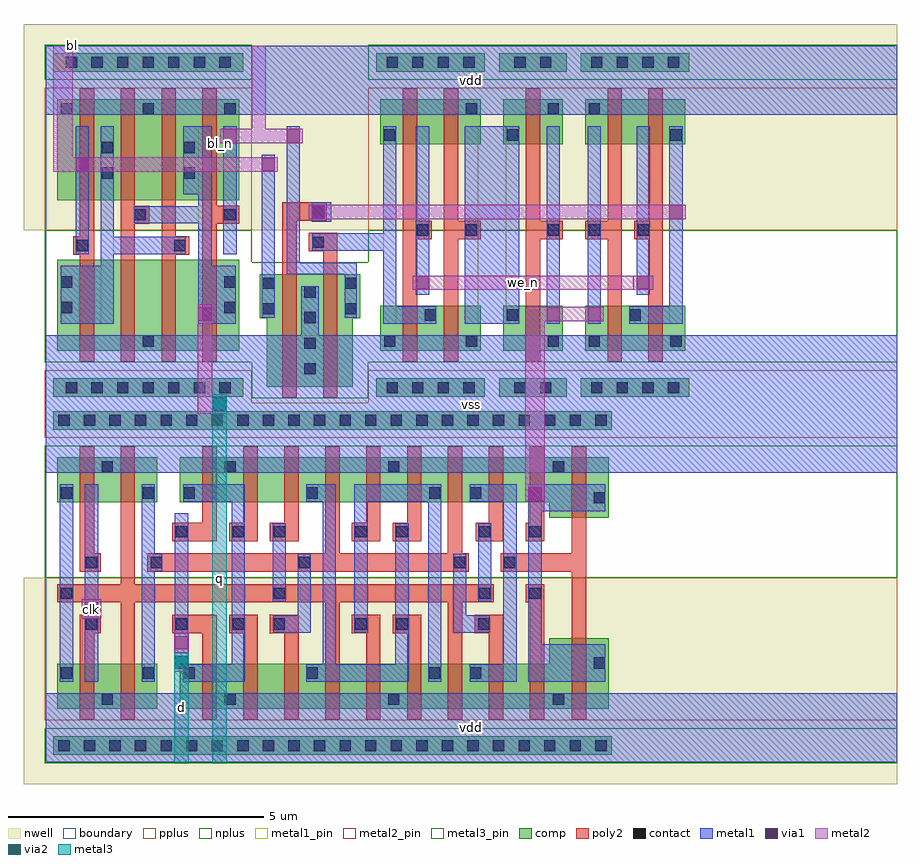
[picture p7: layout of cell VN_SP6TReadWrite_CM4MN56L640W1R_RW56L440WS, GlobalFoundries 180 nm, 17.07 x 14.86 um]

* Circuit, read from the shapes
.subckt VN_SP6TReadWrite_CM4MN56L640W1R_RW56L440WS bl bl_n clk d q vdd vss we_n
XM1 vss clk n1 vss nfet_03v3 w=0.88u l=0.28u
XM2 n2 bl VN_nsnrlatch_x1_4/nq vss nfet_03v3 w=1.775u l=0.28u
XM3 n3 n1 vss vss nfet_03v3 w=0.88u l=0.28u
XM4 vss q n2 vss nfet_03v3 w=1.775u l=0.28u
XM5 n4 VN_nsnrlatch_x1_4/nq vss vss nfet_03v3 w=1.775u l=0.28u
XM6 vss d n5 vss nfet_03v3 w=0.88u l=0.28u
XM7 q bl_n n4 vss nfet_03v3 w=1.775u l=0.28u
XM8 n6 n5 vss vss nfet_03v3 w=0.88u l=0.28u
XM9 vss VN_nor2_x0_0/nq bl vss nfet_03v3 w=2.2u l=0.28u
XM10 n7 n1 n6 vss nfet_03v3 w=0.88u l=0.28u
XM11 bl_n VN_nor2_x0_3/nq vss vss nfet_03v3 w=2.2u l=0.28u
XM12 n8 n3 n7 vss nfet_03v3 w=0.88u l=0.28u
XM13 vss n9 n8 vss nfet_03v3 w=0.88u l=0.28u
XM14 VN_nor2_x0_3/nq we_n vss vss nfet_03v3 w=0.88u l=0.28u
XM15 n9 n7 vss vss nfet_03v3 w=0.88u l=0.28u
XM16 vss VN_nor2_x0_3/i0 VN_nor2_x0_3/nq vss nfet_03v3 w=0.88u l=0.28u
XM17 n10 n3 n9 vss nfet_03v3 w=0.88u l=0.28u
XM18 n11 n1 n10 vss nfet_03v3 w=0.88u l=0.28u
XM19 vss VN_inv_x0_1/i VN_nor2_x0_3/i0 vss nfet_03v3 w=0.88u l=0.28u
XM20 vss VN_inv_x0_1/i n11 vss nfet_03v3 w=0.88u l=0.28u
XM21 VN_inv_x0_1/i n10 vss vss nfet_03v3 w=1.175u l=0.28u
XM22 VN_nor2_x0_0/nq VN_inv_x0_1/i vss vss nfet_03v3 w=0.88u l=0.28u
XM23 vss we_n VN_nor2_x0_0/nq vss nfet_03v3 w=0.88u l=0.28u
XM24 vdd clk n1 vdd pfet_03v3 w=0.88u l=0.28u
XM25 VN_nsnrlatch_x1_4/nq bl vdd vdd pfet_03v3 w=1.975u l=0.28u
XM26 n3 n1 vdd vdd pfet_03v3 w=0.88u l=0.28u
XM27 vdd q VN_nsnrlatch_x1_4/nq vdd pfet_03v3 w=1.975u l=0.28u
XM28 q VN_nsnrlatch_x1_4/nq vdd vdd pfet_03v3 w=1.975u l=0.28u
XM29 vdd d n5 vdd pfet_03v3 w=0.88u l=0.28u
XM30 vdd bl_n q vdd pfet_03v3 w=1.975u l=0.28u
XM31 n12 n5 vdd vdd pfet_03v3 w=0.88u l=0.28u
XM32 n7 n3 n12 vdd pfet_03v3 w=0.88u l=0.28u
XM33 n13 n1 n7 vdd pfet_03v3 w=0.88u l=0.28u
XM34 vdd n9 n13 vdd pfet_03v3 w=0.88u l=0.28u
XM35 n14 we_n VN_nor2_x0_3/nq vdd pfet_03v3 w=0.88u l=0.28u
XM36 n9 n7 vdd vdd pfet_03v3 w=0.88u l=0.28u
XM37 vdd VN_nor2_x0_3/i0 n14 vdd pfet_03v3 w=0.88u l=0.28u
XM38 n10 n1 n9 vdd pfet_03v3 w=0.88u l=0.28u
XM39 n15 n3 n10 vdd pfet_03v3 w=0.88u l=0.28u
XM40 vdd VN_inv_x0_1/i VN_nor2_x0_3/i0 vdd pfet_03v3 w=0.88u l=0.28u
XM41 vdd VN_inv_x0_1/i n15 vdd pfet_03v3 w=0.88u l=0.28u
XM42 VN_inv_x0_1/i n10 vdd vdd pfet_03v3 w=1.375u l=0.28u
XM43 n16 VN_inv_x0_1/i vdd vdd pfet_03v3 w=0.88u l=0.28u
XM44 VN_nor2_x0_0/nq we_n n16 vdd pfet_03v3 w=0.88u l=0.28u
.ends

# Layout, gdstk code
from math import pi, radians
import gdstk
lib = gdstk.Library(unit=1e-6, precision=1e-09)
def R(c, l, rs):  # rectangles x0, y0, x1, y1
    for r in rs: c.add(gdstk.rectangle(r[:2], r[2:], *l))
def A(c, l, x, y, w, h, nx, ny, dx, dy):  # array of equal rectangles
    R(c, l, [(x+i*dx, y+j*dy, x+i*dx+w, y+j*dy+h) for i in range(nx) for j in range(ny)])
def P(c, l, *ps):  # polygons
    for p in ps: c.add(gdstk.Polygon(p, *l))
boundary = (0, 0)
nwell = (21, 0)
comp = (22, 0)
poly2 = (30, 0)
pplus = (31, 0)
nplus = (32, 0)
contact = (33, 0)
metal1 = (34, 0)
metal1_pin = (34, 10)
via1 = (35, 0)
metal2 = (36, 0)
metal2_pin = (36, 10)
via2 = (38, 0)
metal3 = (42, 0)
metal3_pin = (42, 10)

vn_nor2_x0 = lib.new_cell('VN_nor2_x0')
R(vn_nor2_x0, nwell, [(-0.43,3.4,2.83,7.43)])
R(vn_nor2_x0, comp, [(0.14,0.14,2.26,0.5), (0.22,1.045,2.18,1.925), (0.22,5.075,2.18,5.955), (0.14,6.5,2.26,6.86)])
P(vn_nor2_x0, poly2, [(1.46,0.825),(1.46,3.22),(1.18,3.22),(1.18,3.58),(1.46,3.58),(1.46,6.175),(1.74,6.175),(1.74,0.825)],
  [(0.66,0.825),(0.66,3.22),(0.22,3.22),(0.22,3.58),(0.66,3.58),(0.66,6.175),(0.94,6.175),(0.94,0.825)])
R(vn_nor2_x0, pplus, [(-0.02,-0.02,2.42,0.66), (-0.02,3.4,2.42,6.185)])
R(vn_nor2_x0, nplus, [(-0.02,0.815,2.42,3.4), (-0.02,6.34,2.42,7.02)])
A(vn_nor2_x0, contact, 0.34, 0.21, 0.22, 0.22, 4, 2, 0.5, 6.36)
R(vn_nor2_x0, contact, [(0.29,1.115,0.51,1.335), (1.89,1.115,2.11,1.335), (1.09,1.63,1.31,1.85), (0.29,3.29,0.51,3.51), (1.25,3.29,1.47,3.51), (1.89,5.15,2.11,5.37), (0.29,5.665,0.51,5.885)])
R(vn_nor2_x0, metal1, [(0,0,2.4,1.34), (0.27,1.57,0.53,5.43), (1.23,2.14,1.49,5.43), (0,5.66,2.4,7)])
P(vn_nor2_x0, metal1, [(1.085,1.57),(1.085,1.91),(1.87,1.91),(1.87,5.43),(2.13,5.43),(2.13,1.57)])
R(vn_nor2_x0, metal1_pin, [(0,0,2.4,1.34), (0.27,1.57,0.53,5.43), (1.87,1.57,2.13,5.43), (1.23,2.14,1.49,5.43), (0,5.66,2.4,7)])
vn_nor2_x0.add(gdstk.Label('i1', (1.36,3.785), layer=34, texttype=10))
vn_nor2_x0.add(gdstk.Label('i0', (0.4,3.5), layer=34, texttype=10))
vn_nor2_x0.add(gdstk.Label('nq', (2,3.5), layer=34, texttype=10))
vn_nor2_x0.add(gdstk.Label('vdd', (1.2,6.33), layer=34, texttype=10))
vn_nor2_x0.add(gdstk.Label('vss', (1.2,0.67), layer=34, texttype=10))

vn_inv_x0 = lib.new_cell('VN_inv_x0')
R(vn_inv_x0, nwell, [(-0.43,3.4,2.03,7.43)])
R(vn_inv_x0, comp, [(0.14,0.14,1.46,0.5), (0.22,1.045,1.38,1.925), (0.22,5.075,1.38,5.955), (0.14,6.5,1.46,6.86)])
P(vn_inv_x0, poly2, [(0.66,0.825),(0.66,3.22),(0.22,3.22),(0.22,3.58),(0.66,3.58),(0.66,6.175),(0.94,6.175),(0.94,0.825)])
R(vn_inv_x0, pplus, [(-0.02,-0.02,1.62,0.66), (-0.02,3.4,1.62,6.185)])
R(vn_inv_x0, nplus, [(-0.02,0.815,1.62,3.4), (-0.02,6.34,1.62,7.02)])
R(vn_inv_x0, contact, [(0.44,0.21,0.66,0.43), (0.94,0.21,1.16,0.43), (0.29,1.115,0.51,1.335), (1.09,1.63,1.31,1.85), (0.29,3.29,0.51,3.51), (1.09,5.15,1.31,5.37), (0.29,5.665,0.51,5.885), (0.44,6.57,0.66,6.79), (0.94,6.57,1.16,6.79)])
R(vn_inv_x0, metal1, [(0,0,1.6,1.34), (0.27,1.57,0.53,5.43), (1.07,1.57,1.33,5.43), (0,5.66,1.6,7)])
R(vn_inv_x0, metal1_pin, [(0,0,1.6,1.34), (0.27,1.57,0.53,5.43), (1.07,1.57,1.33,5.43), (0,5.66,1.6,7)])
vn_inv_x0.add(gdstk.Label('i', (0.4,3.5), layer=34, texttype=10))
vn_inv_x0.add(gdstk.Label('nq', (1.2,3.5), layer=34, texttype=10))
vn_inv_x0.add(gdstk.Label('vdd', (0.8,6.33), layer=34, texttype=10))
vn_inv_x0.add(gdstk.Label('vss', (0.8,0.67), layer=34, texttype=10))

vn_dff_x1 = lib.new_cell('VN_dff_x1')
R(vn_dff_x1, nwell, [(-0.43,3.4,11.63,7.43)])
R(vn_dff_x1, comp, [(0.14,0.14,11.06,0.5), (0.22,1.045,2.18,1.925), (0.22,5.075,2.18,5.955), (0.14,6.5,11.06,6.86)])
P(vn_dff_x1, comp, [(2.62,1.045),(2.62,1.925),(9.84,1.925),(9.84,2.22),(11,2.22),(11,1.045)],
  [(9.84,4.58),(9.84,5.075),(2.62,5.075),(2.62,5.955),(11,5.955),(11,4.58)])
P(vn_dff_x1, poly2, [(9.46,0.825),(9.46,2.32),(9.38,2.32),(9.38,2.68),(9.74,2.68),(9.74,0.825)],
  [(10.28,0.825),(10.28,2.92),(8.89,2.92),(8.89,3.28),(10.28,3.28),(10.28,6.175),(10.56,6.175),(10.56,0.825)],
  [(2.47,4.12),(2.47,4.48),(3.06,4.48),(3.06,6.175),(3.34,6.175),(3.34,4.12)],
  [(3.06,0.825),(3.06,2.32),(2.47,2.32),(2.47,2.68),(3.34,2.68),(3.34,0.825)],
  [(9.38,3.52),(9.38,3.88),(9.46,3.88),(9.46,6.175),(9.74,6.175),(9.74,3.52)],
  [(3.58,4.12),(3.58,4.48),(3.86,4.48),(3.86,6.175),(4.14,6.175),(4.14,4.12)],
  [(4.38,4.12),(4.38,4.48),(4.66,4.48),(4.66,6.175),(4.94,6.175),(4.94,4.12)],
  [(5.98,4.12),(5.98,4.48),(6.26,4.48),(6.26,6.175),(6.54,6.175),(6.54,4.12)],
  [(6.78,4.12),(6.78,4.48),(7.06,4.48),(7.06,6.175),(7.34,6.175),(7.34,4.12)],
  [(8.38,4.12),(8.38,4.48),(8.66,4.48),(8.66,6.175),(8.94,6.175),(8.94,4.12)],
  [(5.46,0.825),(5.46,2.92),(1.98,2.92),(1.98,3.28),(8.27,3.28),(8.27,2.92),(8.14,2.92),(8.14,0.825),(7.86,0.825),(7.86,2.92),(5.74,2.92),(5.74,0.825)],
  [(0.66,0.825),(0.66,3.28),(1.07,3.28),(1.07,2.92),(0.94,2.92),(0.94,0.825)],
  [(0.66,4.12),(0.66,6.175),(0.94,6.175),(0.94,4.48),(1.07,4.48),(1.07,4.12)],
  [(3.86,0.825),(3.86,2.32),(3.58,2.32),(3.58,2.68),(4.14,2.68),(4.14,0.825)],
  [(4.66,0.825),(4.66,2.32),(4.38,2.32),(4.38,2.68),(4.94,2.68),(4.94,0.825)],
  [(6.26,0.825),(6.26,2.32),(5.98,2.32),(5.98,2.68),(6.54,2.68),(6.54,0.825)],
  [(7.06,0.825),(7.06,2.32),(6.78,2.32),(6.78,2.68),(7.34,2.68),(7.34,0.825)],
  [(8.66,0.825),(8.66,2.32),(8.4,2.32),(8.4,2.68),(8.94,2.68),(8.94,0.825)],
  [(1.46,0.825),(1.46,3.52),(0.22,3.52),(0.22,3.88),(1.46,3.88),(1.46,6.175),(1.74,6.175),(1.74,3.88),(5.46,3.88),(5.46,6.175),(5.74,6.175),(5.74,3.88),(7.86,3.88),(7.86,6.175),(8.14,6.175),(8.14,3.88),(8.76,3.88),(8.76,3.52),(1.74,3.52),(1.74,0.825)])
R(vn_dff_x1, pplus, [(-0.02,-0.02,11.22,0.66), (-0.02,3.4,11.22,6.185)])
R(vn_dff_x1, nplus, [(-0.02,0.815,11.22,3.4), (-0.02,6.34,11.22,7.02)])
A(vn_dff_x1, contact, 0.24, 0.21, 0.22, 0.22, 22, 2, 0.5, 6.36)
A(vn_dff_x1, contact, 2.69, 1.63, 0.22, 0.22, 3, 2, 2.4, 3.52)
R(vn_dff_x1, contact, [(1.09,1.115,1.31,1.335), (3.49,1.115,3.71,1.335), (6.69,1.115,6.91,1.335), (9.91,1.115,10.13,1.335), (0.29,1.63,0.51,1.85), (1.89,1.63,2.11,1.85), (8.29,1.63,8.51,1.85), (10.71,1.725,10.93,1.945), (2.54,2.39,2.76,2.61), (3.65,2.39,3.87,2.61), (4.45,2.39,4.67,2.61), (6.05,2.39,6.27,2.61), (6.85,2.39,7.07,2.61), (8.47,2.39,8.69,2.61), (9.45,2.39,9.67,2.61), (0.78,2.99,1,3.21), (2.05,2.99,2.27,3.21), (4.94,2.99,5.16,3.21), (7.98,2.99,8.2,3.21), (8.96,2.99,9.18,3.21), (0.29,3.59,0.51,3.81), (4.45,3.59,4.67,3.81), (8.47,3.59,8.69,3.81), (9.45,3.59,9.67,3.81), (0.78,4.19,1,4.41), (2.54,4.19,2.76,4.41), (3.65,4.19,3.87,4.41), (4.45,4.19,4.67,4.41), (6.05,4.19,6.27,4.41), (6.85,4.19,7.07,4.41), (8.45,4.19,8.67,4.41), (10.71,4.955,10.93,5.175), (0.29,5.15,0.51,5.37), (1.89,5.15,2.11,5.37), (8.29,5.15,8.51,5.37), (1.09,5.665,1.31,5.885), (3.49,5.665,3.71,5.885), (6.69,5.665,6.91,5.885), (9.91,5.665,10.13,5.885)])
R(vn_dff_x1, metal1, [(0,0,11.2,1.34), (0.27,1.57,0.53,5.43), (0.76,1.57,1.02,5.43), (2.52,2.14,2.78,4.86), (4.43,2.33,4.69,3.87), (8.45,2.33,8.71,3.87), (0,5.66,11.2,7)])
P(vn_dff_x1, metal1, [(9.43,1.57),(9.43,5.43),(10.935,5.43),(10.935,4.7),(9.69,4.7),(9.69,2.1),(10.935,2.1),(10.935,1.57)],
  [(8.285,1.57),(8.285,1.91),(8.94,1.91),(8.94,5.09),(8.285,5.09),(8.285,5.43),(9.2,5.43),(9.2,1.57)],
  [(6.03,1.57),(6.03,4.47),(6.29,4.47),(6.29,1.91),(7.47,1.91),(7.47,5.43),(7.73,5.43),(7.73,1.57)],
  [(5.085,1.57),(5.085,1.91),(5.41,1.91),(5.41,5.09),(5.085,5.09),(5.085,5.43),(7.09,5.43),(7.09,2.33),(6.83,2.33),(6.83,5.09),(5.67,5.09),(5.67,1.57)],
  [(2.685,1.57),(2.685,1.91),(3.63,1.91),(3.63,5.09),(2.685,5.09),(2.685,5.43),(3.89,5.43),(3.89,1.57)],
  [(7.96,2.93),(7.96,4.47),(8.675,4.47),(8.675,4.13),(8.22,4.13),(8.22,2.93)],
  [(4.92,2.93),(4.92,4.13),(4.445,4.13),(4.445,4.47),(5.18,4.47),(5.18,2.93)],
  [(1.87,1.57),(1.87,5.43),(2.13,5.43),(2.13,3.27),(2.275,3.27),(2.275,2.93),(2.13,2.93),(2.13,1.57)])
R(vn_dff_x1, metal1_pin, [(0,0,11.2,1.34), (0.76,1.57,1.02,5.43), (9.43,1.57,9.69,5.43), (2.52,2.14,2.78,4.86), (0,5.66,11.2,7)])
vn_dff_x1.add(gdstk.Label('q', (9.56,3.5), layer=34, texttype=10))
vn_dff_x1.add(gdstk.Label('i', (2.65,3.5), layer=34, texttype=10))
vn_dff_x1.add(gdstk.Label('clk', (0.89,3.5), layer=34, texttype=10))
vn_dff_x1.add(gdstk.Label('vss', (5.6,0.67), layer=34, texttype=10))
vn_dff_x1.add(gdstk.Label('vdd', (5.6,6.33), layer=34, texttype=10))

vn_nsnrlatch_x1 = lib.new_cell('VN_nsnrlatch_x1')
R(vn_nsnrlatch_x1, nwell, [(-0.43,3.4,4.43,7.43)])
R(vn_nsnrlatch_x1, comp, [(0.14,0.14,3.86,0.5), (0.22,1.045,3.78,2.82), (0.22,3.98,3.78,5.955), (0.14,6.5,3.86,6.86)])
R(vn_nsnrlatch_x1, poly2, [(1.38,2.92,1.6,3.28), (3.2,2.92,3.29,3.28)])
P(vn_nsnrlatch_x1, poly2, [(3.06,0.825),(3.06,6.175),(3.34,6.175),(3.34,3.28),(3.47,3.28),(3.47,2.92),(3.34,2.92),(3.34,0.825)],
  [(1.46,0.825),(1.46,2.92),(1.2,2.92),(1.2,3.28),(1.46,3.28),(1.46,6.175),(1.74,6.175),(1.74,0.825)],
  [(0.66,0.825),(0.66,3.52),(0.22,3.52),(0.22,3.88),(0.66,3.88),(0.66,6.175),(0.94,6.175),(0.94,0.825)],
  [(2.26,0.825),(2.26,3.52),(1.98,3.52),(1.98,3.88),(2.26,3.88),(2.26,6.175),(2.54,6.175),(2.54,0.825)])
R(vn_nsnrlatch_x1, pplus, [(-0.02,-0.02,4.02,0.66), (-0.02,3.4,4.02,6.185)])
R(vn_nsnrlatch_x1, nplus, [(-0.02,0.815,4.02,3.4), (-0.02,6.34,4.02,7.02)])
A(vn_nsnrlatch_x1, contact, 0.39, 0.21, 0.22, 0.22, 7, 2, 0.5, 6.36)
A(vn_nsnrlatch_x1, contact, 0.29, 5.665, 0.22, 0.22, 3, 1, 1.6, 0)
R(vn_nsnrlatch_x1, contact, [(1.89,1.115,2.11,1.335), (0.29,1.775,0.51,1.995), (3.49,1.775,3.71,1.995), (0.29,2.275,0.51,2.495), (3.49,2.275,3.71,2.495), (1.27,2.99,1.49,3.21), (3.18,2.99,3.4,3.21), (0.29,3.59,0.51,3.81), (2.05,3.59,2.27,3.81), (1.09,4.405,1.31,4.625), (2.69,4.405,2.91,4.625), (1.09,4.905,1.31,5.125), (2.69,4.905,2.91,5.125)])
R(vn_nsnrlatch_x1, metal1, [(0,0,4,1.34), (0.27,2.93,0.53,5.43), (3.16,2.93,3.42,5.43), (0,5.66,4,7)])
P(vn_nsnrlatch_x1, metal1, [(2.67,1.57),(2.67,2.93),(1.265,2.93),(1.265,3.27),(2.67,3.27),(2.67,5.43),(2.93,5.43),(2.93,2.7),(3.715,2.7),(3.715,1.57)],
  [(0.285,1.57),(0.285,2.7),(0.76,2.7),(0.76,5.43),(1.315,5.43),(1.315,4.1),(1.02,4.1),(1.02,3.87),(2.275,3.87),(2.275,3.53),(1.02,3.53),(1.02,1.57)])
R(vn_nsnrlatch_x1, metal1_pin, [(0,0,4,1.34), (0.76,1.57,1.02,5.43), (2.67,1.57,2.93,5.43), (0.27,2.93,0.53,5.43), (3.16,2.93,3.42,5.43), (0,5.66,4,7)])
vn_nsnrlatch_x1.add(gdstk.Label('nrst', (3.29,4.18), layer=34, texttype=10))
vn_nsnrlatch_x1.add(gdstk.Label('nq', (2.8,3.5), layer=34, texttype=10))
vn_nsnrlatch_x1.add(gdstk.Label('nset', (0.4,4.18), layer=34, texttype=10))
vn_nsnrlatch_x1.add(gdstk.Label('vss', (2,0.67), layer=34, texttype=10))
vn_nsnrlatch_x1.add(gdstk.Label('vdd', (2,6.33), layer=34, texttype=10))
vn_nsnrlatch_x1.add(gdstk.Label('q', (0.89,3.5), layer=34, texttype=10))

vn_sp6treadwrite_cm4mn56 = lib.new_cell('VN_SP6TReadWrite_CM4MN56L640W1R_RW56L440WS')
R(vn_sp6treadwrite_cm4mn56, boundary, [(0,0,16.64,14)])
R(vn_sp6treadwrite_cm4mn56, nwell, [(-0.43,-0.43,16.64,3.6), (-0.43,10.4,16.64,14.43)])
P(vn_sp6treadwrite_cm4mn56, comp, [(4.32,7.34),(4.32,8.68),(4.18,8.68),(4.18,9.54),(6.14,9.54),(6.14,8.68),(6,8.68),(6,7.34)])
P(vn_sp6treadwrite_cm4mn56, poly2, [(5.42,7.12),(5.42,9.985),(5.14,9.985),(5.14,10.345),(5.7,10.345),(5.7,7.12)],
  [(4.62,7.12),(4.62,10.945),(5.49,10.945),(5.49,10.585),(4.9,10.585),(4.9,7.12)])
R(vn_sp6treadwrite_cm4mn56, pplus, [(-0.02,0.815,16.64,3.6), (10.3,10.4,16.64,13.185)])
P(vn_sp6treadwrite_cm4mn56, pplus, [(-0.02,6.34),(-0.02,7.02),(10.3,7.02),(10.3,7.66),(16.64,7.66),(16.64,6.34)])
R(vn_sp6treadwrite_cm4mn56, nplus, [(-0.02,-0.02,16.64,0.66), (-0.02,3.6,16.64,6.185), (10.3,7.815,16.64,10.4), (10.3,13.34,16.64,14.02)])
P(vn_sp6treadwrite_cm4mn56, nplus, [(4.02,7.11),(4.02,7.815),(4,7.815),(4,9.77),(6.32,9.77),(6.32,7.815),(6.3,7.815),(6.3,7.11)])
A(vn_sp6treadwrite_cm4mn56, contact, 5.05, 7.58, 0.22, 0.22, 1, 4, 0, 0.5)
R(vn_sp6treadwrite_cm4mn56, contact, [(4.25,8.75,4.47,8.97), (5.85,8.75,6.07,8.97), (4.25,9.25,4.47,9.47), (5.85,9.25,6.07,9.47), (5.21,10.055,5.43,10.275), (5.2,10.655,5.42,10.875)])
R(vn_sp6treadwrite_cm4mn56, metal1, [(0,0,16.64,1.34), (2.52,2.14,2.78,2.52), (0.76,2.8,1.02,3.18), (9.43,5.05,9.69,5.43), (2.98,8.57,3.24,8.95), (8.32,8.57,9.25,12.43), (9.79,8.57,10.05,8.95), (10.59,8.57,10.85,8.95), (4.215,8.69,4.475,11.87), (7.23,9.18,7.49,9.56), (11.55,9.18,11.81,9.56), (5.205,9.995,6.85,10.335), (5.195,10.565,5.575,10.945), (12.19,10.565,12.45,10.945), (0.58,11.49,0.84,11.87), (3.47,12.05,3.73,12.43), (0,12.66,16.64,14)])
P(vn_sp6treadwrite_cm4mn56, metal1, [(5.845,8.69),(5.845,9.535),(4.705,9.535),(4.705,12.43),(4.965,12.43),(4.965,9.765),(6.075,9.765),(6.075,8.69)],
  [(0,5.66),(0,8.34),(4.99,8.34),(4.99,9.305),(5.33,9.305),(5.33,8.34),(16.64,8.34),(16.64,5.66)])
R(vn_sp6treadwrite_cm4mn56, metal1_pin, [(0,0,16.64,1.34), (0,5.66,16.64,8.34), (0,12.66,16.64,14)])
R(vn_sp6treadwrite_cm4mn56, via1, [(2.52,2.2,2.78,2.46), (0.76,2.86,1.02,3.12), (9.43,5.11,9.69,5.37), (2.98,8.63,3.24,8.89), (9.79,8.63,10.05,8.89), (10.59,8.63,10.85,8.89), (7.23,9.24,7.49,9.5), (11.55,9.24,11.81,9.5), (5.195,10.625,5.455,10.885), (12.19,10.625,12.45,10.885), (0.58,11.55,0.84,11.81), (4.215,11.55,4.475,11.81), (3.47,12.11,3.73,12.37), (4.705,12.11,4.965,12.37)])
R(vn_sp6treadwrite_cm4mn56, metal2, [(2.51,1.76,2.79,2.52), (0.7,2.8,1.08,3.18), (7.17,9.23,11.87,9.51), (5.135,10.615,12.51,10.895)])
P(vn_sp6treadwrite_cm4mn56, metal2, [(9.37,5.1),(9.37,8.9),(10.91,8.9),(10.91,8.62),(9.75,8.62),(9.75,5.1)],
  [(2.97,6.81),(2.97,8.95),(3.25,8.95),(3.25,7.19),(3.53,7.19),(3.53,6.81)],
  [(3.41,12.1),(3.41,12.38),(4.02,12.38),(4.02,14),(4.3,14),(4.3,12.38),(5.025,12.38),(5.025,12.1)],
  [(0.14,11.54),(0.14,14),(0.52,14),(0.52,11.82),(4.535,11.82),(4.535,11.54)])
R(vn_sp6treadwrite_cm4mn56, metal2_pin, [(0.7,2.8,1.08,3.18), (7.17,9.23,11.49,9.51)])
P(vn_sp6treadwrite_cm4mn56, metal2_pin, [(3.41,12.1),(3.41,12.38),(4.02,12.38),(4.02,14),(4.3,14),(4.3,12.38),(5.025,12.38),(5.025,12.1)],
  [(0.14,11.54),(0.14,14),(0.52,14),(0.52,11.82),(4.535,11.82),(4.535,11.54)])
R(vn_sp6treadwrite_cm4mn56, via2, [(2.52,1.82,2.78,2.08), (3.26,6.87,3.52,7.13)])
R(vn_sp6treadwrite_cm4mn56, metal3, [(2.51,0,2.79,2.14), (3.25,0,3.53,7.19)])
R(vn_sp6treadwrite_cm4mn56, metal3_pin, [(2.51,0,2.79,2.14), (3.25,0,3.53,7.19)])
vn_sp6treadwrite_cm4mn56.add(gdstk.Reference(vn_nor2_x0, (10.32,7)))
vn_sp6treadwrite_cm4mn56.add(gdstk.Reference(vn_inv_x0, (10.32,7), rotation=pi, x_reflection=True))
vn_sp6treadwrite_cm4mn56.add(gdstk.Reference(vn_dff_x1, (0,7), x_reflection=True))
vn_sp6treadwrite_cm4mn56.add(gdstk.Reference(vn_nor2_x0, (8.72,7), rotation=pi, x_reflection=True))
vn_sp6treadwrite_cm4mn56.add(gdstk.Reference(vn_nsnrlatch_x1, (4,7), rotation=pi, x_reflection=True))
vn_sp6treadwrite_cm4mn56.add(gdstk.Label('vdd', (8.32,0.67), layer=34, texttype=10))
vn_sp6treadwrite_cm4mn56.add(gdstk.Label('vdd', (8.32,13.33), layer=34, texttype=10))
vn_sp6treadwrite_cm4mn56.add(gdstk.Label('vss', (8.32,7), layer=34, texttype=10))
vn_sp6treadwrite_cm4mn56.add(gdstk.Label('d', (2.65,1.07), layer=42, texttype=10))
vn_sp6treadwrite_cm4mn56.add(gdstk.Label('q', (3.39,3.595), layer=42, texttype=10))
vn_sp6treadwrite_cm4mn56.add(gdstk.Label('we_n', (9.33,9.37), layer=36, texttype=10))
vn_sp6treadwrite_cm4mn56.add(gdstk.Label('clk', (0.89,2.99), layer=36, texttype=10))
vn_sp6treadwrite_cm4mn56.add(gdstk.Label('bl_n', (3.41,12.1), layer=36, texttype=10))
vn_sp6treadwrite_cm4mn56.add(gdstk.Label('bl', (0.52,14), layer=36, texttype=10))

lib.write_gds('VN_SP6TReadWrite_CM4MN56L640W1R_RW56L440WS.gds')
